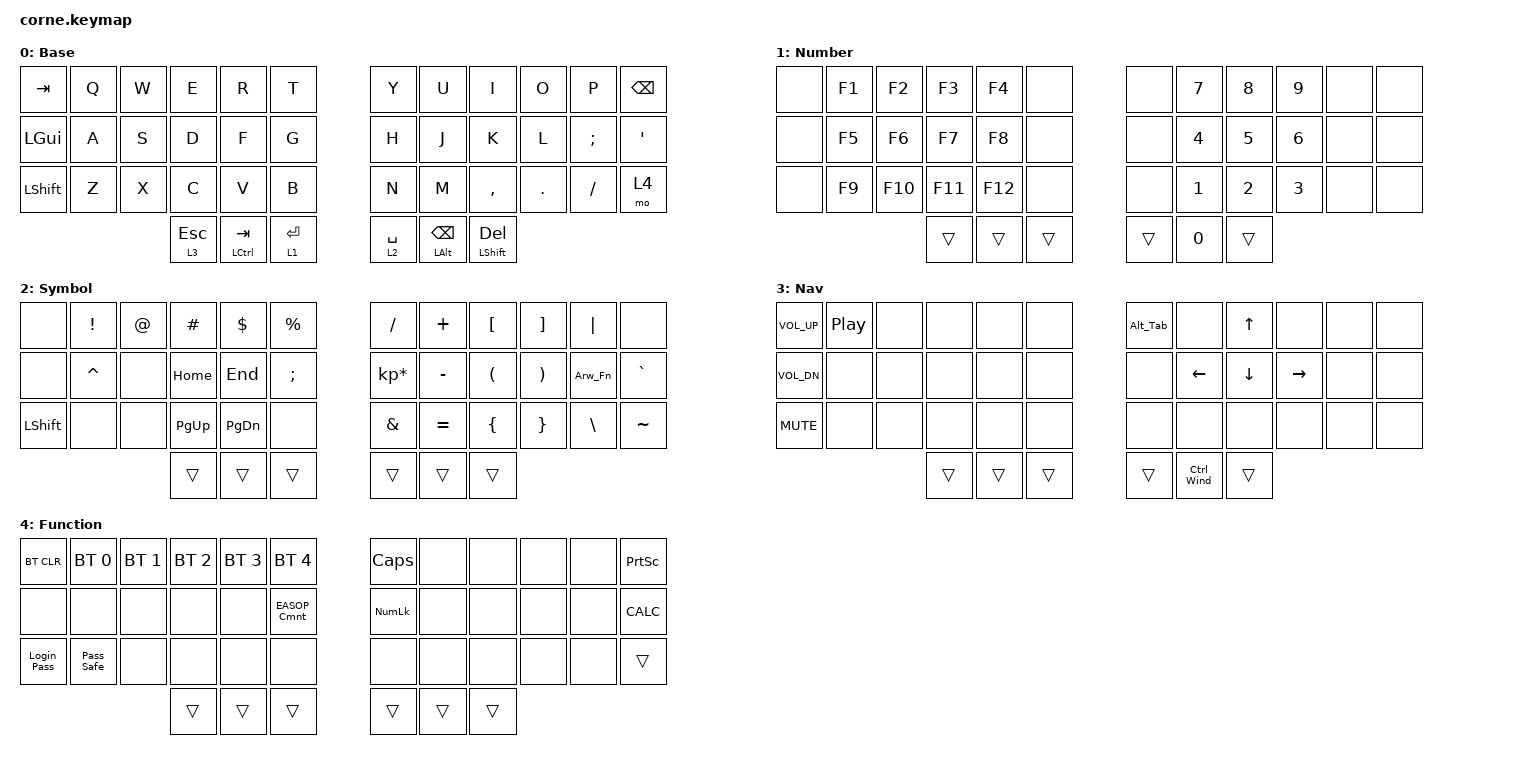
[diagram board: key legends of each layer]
/*
 * Copyright (c) 2020 The ZMK Contributors
 *
 * SPDX-License-Identifier: MIT
 */

#include <behaviors.dtsi>
#include <dt-bindings/zmk/keys.h>
#include <dt-bindings/zmk/bt.h>

/ {
    macros {
        Alt_Tab: Alt_Tab {
            label = "Alt_Tab";
            compatible = "zmk,behavior-macro";
            #binding-cells = <0>;
            bindings
                = <&macro_press &kp LALT>
                , <&macro_tap &kp TAB>
                , <&macro_release &kp LALT>
                ;
        };

        EASOP_Cmnt: EASOP_Cmnt {
            label = "EASOP_Cmnt";
            compatible = "zmk,behavior-macro";
            wait-ms = <40>;
            tap-ms = <40>;
            #binding-cells = <0>;
            bindings
                = <&macro_tap &kp LPAR &kp KP_MULTIPLY &kp SPACE>
                , <&macro_tap &kp SPACE &kp KP_MULTIPLY &kp RPAR>
                , <&macro_tap &kp LEFT &kp LEFT &kp LEFT>
                ;
        };

        Ctrl_Wind: Ctrl_Wind {
            label = "Ctrl_Wind";
            compatible = "zmk,behavior-macro";
            #binding-cells = <0>;
            bindings
                = <&macro_press &kp LCTRL &kp LGUI>
                , <&macro_pause_for_release>
                , <&macro_release &kp LCTRL &kp LGUI>
                ;
        };

        Login_Pass: Login_Pass {
            label = "Login_Pass";
            compatible = "zmk,behavior-macro";
            #binding-cells = <0>;
            bindings
                = <&macro_press &kp LSHFT>
                , <&macro_tap &kp D>
                , <&macro_release &kp LSHFT>
                , <&macro_tap &kp E &kp S &kp T &kp I &kp N &kp Y &kp N1 &kp DLLR &kp N0>
                ;
        };

        Pass_Safe: Pass_Safe {
            label = "Pass_Safe";
            compatible = "zmk,behavior-macro";
            #binding-cells = <0>;
            bindings
                = <&macro_tap &kp CAPS &kp T &kp CAPS &kp I &kp M &kp CAPS &kp W &kp CAPS &kp P &kp A &kp S &kp N &kp B&kp CAPS &kp S &kp CAPS &kp EXCL &kp N1 &kp N0 &kp N3 &kp N1>
                ;
        };

        Arw_Fn: Arw_Fn {
            label = "Arw_Fn";
            compatible = "zmk,behavior-macro";
            wait-ms = <40>;
            tap-ms = <40>;
            #binding-cells = <0>;
            bindings
                = <&macro_tap &kp EQUAL &kp GT &kp SPACE>
                ;
        };
    };
};

/ {
        keymap {
                compatible = "zmk,keymap";

                default_layer {
// -----------------------------------------------------------------------------------------
// |  TAB |  Q  |  W  |  E  |  R  |  T  |   |  Y  |  U   |  I  |  O  |  P  | BKSP |
// | WIN  |  A  |  S  |  D  |  F  |  G  |   |  H  |  J   |  K  |  L  |  ;  |  '   |
// | Shft |  Z  |  X  |  C  |  V  |  B  |   |  N  |  M   |  ,  |  .  |  /  | Func |
//       | Esc,Nav | Tab,Ctrl | Ent,Nub |   | Spc,Sym | Bksp,ALT  | Del,Shft |
                        label = "Base";
                        bindings = <
   &kp TAB    &kp Q  &kp W  &kp E  &kp R  &kp T     &kp Y  &kp U   &kp I      &kp O    &kp P     &kp BSPC
   &kp LGUI   &kp A  &kp S  &kp D  &kp F  &kp G     &kp H  &kp J   &kp K      &kp L    &kp SEMI  &kp SQT
   &kp LSHFT  &kp Z  &kp X  &kp C  &kp V  &kp B     &kp N  &kp M   &kp COMMA  &kp DOT  &kp FSLH  &mo 4
         &lt 3 ESC  &mt LCTRL TAB  &lt 1 RET        &lt 2 SPACE  &mt LALT BSPC  &mt LSHFT DEL 
                        >;
                };
                Number_layer {
// -----------------------------------------------------------------------------------------
// |      | F1  | F2  | F3  | F4  |     |   |     |  7  |  8  |  9  |     |      |
// |      | F5  | F6  | F7  | F8  |     |   |     |  4  |  5  |  6  |     |      |
// |      | F9  | F10 | F11 | F12 |     |   |     |  1  |  2  |  3  |     |      |
//                    |     |     |     |   |     |  0  |     |
                        label = "Number";
                        bindings = <
   &none  &kp F1  &kp F2   &kp F3   &kp F4   &none     &none  &kp N7  &kp N8  &kp N9  &none  &none
   &none  &kp F5  &kp F6   &kp F7   &kp F8   &none     &none  &kp N4  &kp N5  &kp N6  &none  &none
   &none  &kp F9  &kp F10  &kp F11  &kp F12  &none     &none  &kp N1  &kp N2  &kp N3  &none  &none
                           &trans   &trans   &trans    &trans &kp N0  &trans
                        >;
                };

                Symbol_layer {
// -----------------------------------------------------------------------------------------
// |      |  !  |  @  |  #  |  $  |  %  |   |  /  |  +  |  [  |  ]  | "|" |      |
// |      |  ^  |     |Home | End |  ;  |   |  *  |  -  |  (  |  )  |  => |  `   |
// |LShift|     |     | PgUp| PgDn|     |   |  &  |  =  |  {  |  }  |  \  |  ~   |
//                    |     |     |     |   |     |     | LSHFT|
                        label = "Symbol";
                        bindings = <
   &none      &kp EXCL   &kp AT  &kp HASH   &kp DLLR   &kp PRCNT    &kp FSLH         &kp PLUS   &kp LBKT  &kp RBKT  &kp PIPE  &none
   &none      &kp CARET  &none   &kp HOME   &kp END    &kp SEMI     &kp KP_MULTIPLY  &kp MINUS  &kp LPAR  &kp RPAR  &Arw_Fn   &kp GRAVE
   &kp LSHFT  &none      &none   &kp PG_UP  &kp PG_DN  &none        &kp AMPS         &kp EQUAL  &kp LBRC  &kp RBRC  &kp BSLH  &kp TILDE
                    	      &trans     &trans     &trans       &trans           &trans      &trans
                        >;
                };

                Navigation_layer {
// -----------------------------------------------------------------------------------------
// |VOL UP|Play/pau|     |     |     |     |   |ALTab|        | UP  |     |     |      |
// |VOL DN|        |     |     |     |     |   |     |   RGT  | DWN | LFT |     |      |
// | MUTE |        |     |     |     |     |   |     |        |     |     |     |      |
//                       |     |     |     |   |     |CTRL_Win|     |
                        label = "Nav";
                        bindings = <
   &kp C_VOL_UP  &kp C_PP  &none  &none   &none   &none     &Alt_Tab    &none       &kp UP    &none      &none  &none
   &kp C_VOL_DN  &none     &none  &none   &none   &none     &none       &kp LEFT    &kp DOWN  &kp RIGHT  &none  &none
   &kp C_MUTE    &none     &none  &none   &none   &none     &none       &none       &none     &none      &none  &none
                                  &trans  &trans  &trans    &trans      &Ctrl_Wind  &trans
                        >;
                };

                Function_layer {
// -----------------------------------------------------------------------------------------
// | BTCLR| BT1 | BT2 | BT3 | BT4 | BT5 |   |CAPS |     |     |     |     |PT SCN|
// |      |     |     |     |     |     |   | NUM |     |     |     |     | CALC |
// |      |     |     |     |     |     |   |     |     |     |     |     |      |
//                    |     |     |     |   |     |     |     |
                        label = "Function";
                        bindings = <
   &bt BT_CLR  &bt BT_SEL 0 &bt BT_SEL 1 &bt BT_SEL 2 &bt BT_SEL 3 &bt BT_SEL 4           &kp CAPS     &none  &none  &none  &none &kp PSCRN
   &none       &none        &none        &none        &none        &EASOP_Cmnt            &kp KP_NLCK  &none  &none  &none  &none &kp K_CALC
   &Login_Pass &Pass_Safe   &none        &none        &none        &none                  &none        &none  &none  &none  &none &trans
                          	        &trans       &trans       &trans                 &trans  &trans   &trans
                        >;
                };
        };
};
